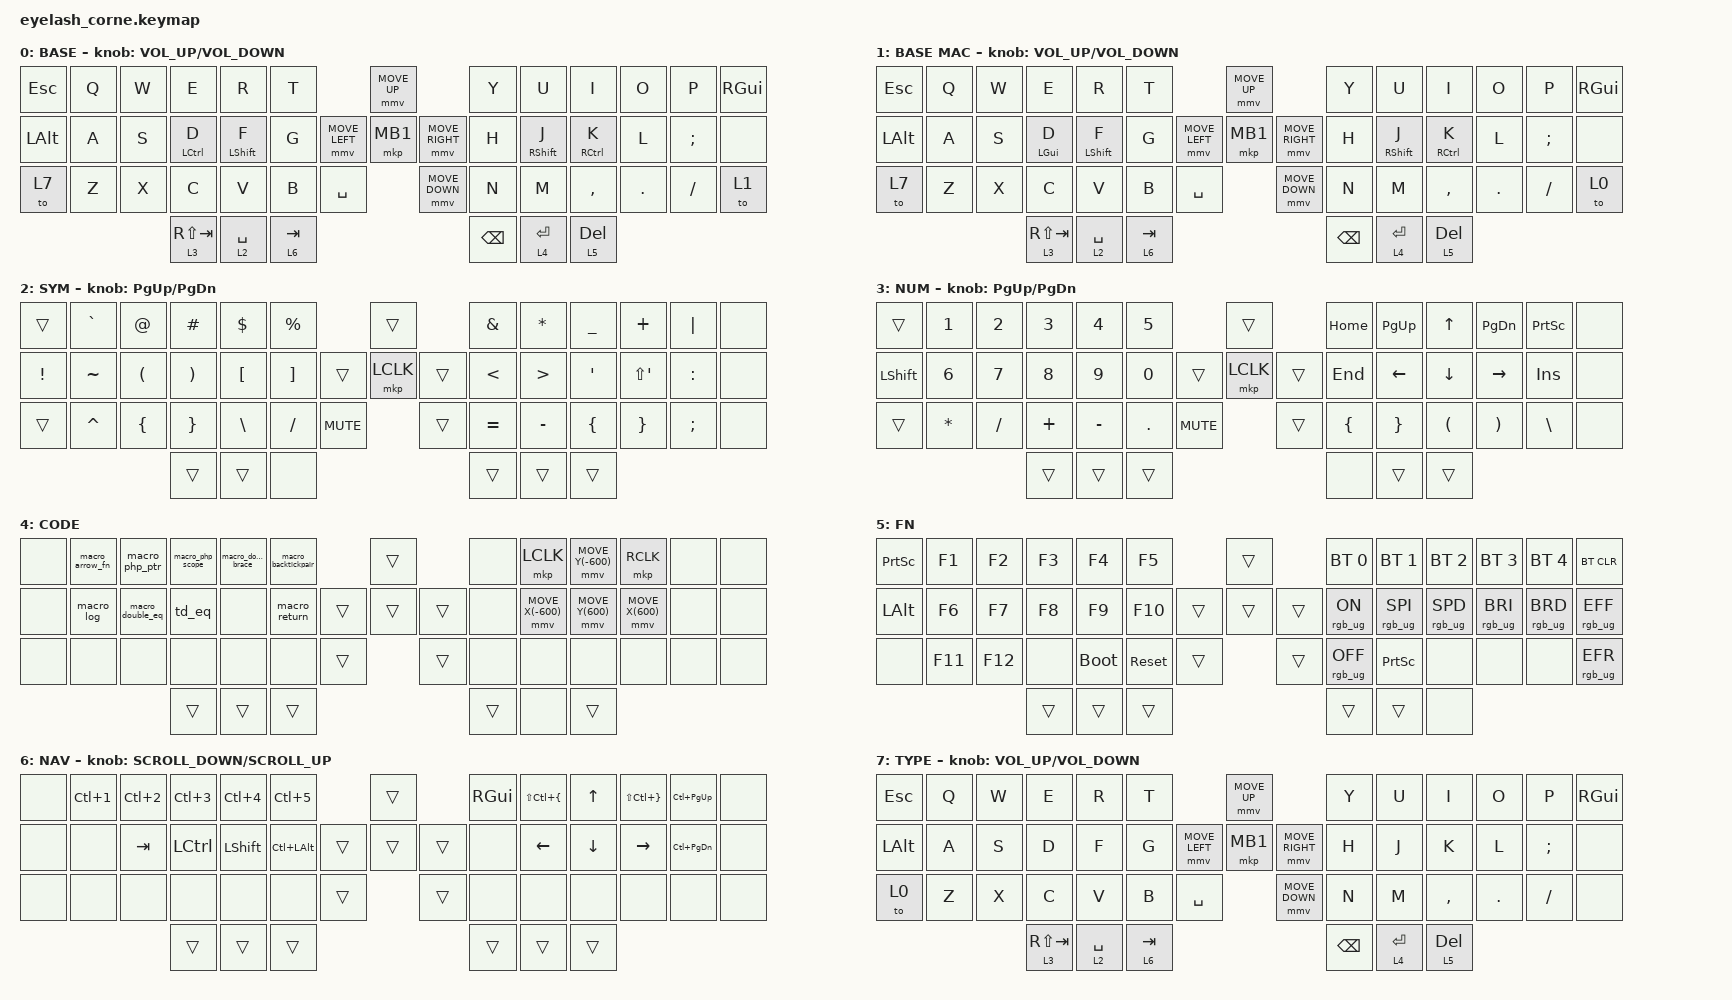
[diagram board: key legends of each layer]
#include <dt-bindings/zmk/mouse.h>
#include <behaviors.dtsi>
#include <dt-bindings/zmk/bt.h>
#include <dt-bindings/zmk/keys.h>
#include <dt-bindings/zmk/pointing.h>
#include <dt-bindings/zmk/rgb.h>

/ {
    behaviors {
        td0: td0 {
            compatible = "zmk,behavior-tap-dance";
            #binding-cells = <0>;
            bindings = <&kp LEFT_SHIFT>, <&kp CAPS>;
        };

        macro_paren: macro_paren {
            compatible = "zmk,behavior-macro";
            label = "PAR()";
            #binding-cells = <0>;
            bindings = <&kp LPAR &kp RPAR &kp LEFT>;
        };

        macro_brack: macro_brack {
            compatible = "zmk,behavior-macro";
            label = "BRK[]";
            #binding-cells = <0>;
            bindings = <&kp LBKT &kp RBKT &kp LEFT>;
        };

        macro_brace: macro_brace {
            compatible = "zmk,behavior-macro";
            label = "BRC{}";
            #binding-cells = <0>;
            bindings = <&kp LBRC &kp RBRC &kp LEFT>;
        };

        macro_backtickpair: macro_backtickpair {
            compatible = "zmk,behavior-macro";
            label = "BT``";
            #binding-cells = <0>;
            bindings = <&kp GRAVE &kp GRAVE &kp LEFT>;
        };

        macro_dollar_brace: macro_dollar_brace {
            compatible = "zmk,behavior-macro";
            label = "${}";
            #binding-cells = <0>;
            bindings = <&kp DOLLAR &kp LBRC &kp RBRC &kp LEFT>;
        };

        macro_arrow_fn: macro_arrow_fn {
            compatible = "zmk,behavior-macro";
            label = "=>";
            #binding-cells = <0>;
            bindings = <&kp SPACE &kp EQUAL &kp GREATER_THAN &kp SPACE>;
        };

        macro_php_ptr: macro_php_ptr {
            compatible = "zmk,behavior-macro";
            label = "->";
            #binding-cells = <0>;
            bindings = <&kp MINUS &kp GREATER_THAN>;
        };

        macro_php_scope: macro_php_scope {
            compatible = "zmk,behavior-macro";
            label = "::";
            #binding-cells = <0>;
            bindings = <&kp COLON &kp COLON>;
        };

        macro_log: macro_log {
            compatible = "zmk,behavior-macro";
            label = "console.log()";
            #binding-cells = <0>;
            bindings = <&kp C &kp O &kp N &kp S &kp O &kp L &kp E &kp DOT &kp L &kp O &kp G &kp LPAR &kp RPAR &kp SEMI &kp LEFT &kp LEFT_ARROW>;
        };

        macro_php_tags_open: macro_php_tags {
            compatible = "zmk,behavior-macro";
            label = "<?php ?>";
            #binding-cells = <0>;
            bindings = <&kp LT &kp QMARK &kp P &kp H &kp P>;
        };

        macro_echo: macro_echo {
            compatible = "zmk,behavior-macro";
            label = "echo ''";
            #binding-cells = <0>;
            bindings = <&kp E &kp C &kp H &kp O &kp SPACE &kp SQT &kp SQT &kp SEMI &kp LEFT>;
        };

        macro_double_eq: macro_double_eq {
            compatible = "zmk,behavior-macro";
            label = "==";
            #binding-cells = <0>;
            bindings = <&kp EQUAL &kp EQUAL>;
        };

        macro_triple_eq: macro_triple_eq {
            compatible = "zmk,behavior-macro";
            label = "===";
            #binding-cells = <0>;
            bindings = <&kp EQUAL &kp EQUAL &kp EQUAL>;
        };

        macro_not_eq_strict: macro_not_eq_strict {
            compatible = "zmk,behavior-macro";
            label = "!==";
            #binding-cells = <0>;
            bindings = <&kp EXCL &kp EQUAL &kp EQUAL>;
        };

        macro_not_eq: macro_not_eq {
            compatible = "zmk,behavior-macro";
            label = "MACRO_NOT_EQ";
            #binding-cells = <0>;
            bindings = <&kp EXCL &kp EQUAL>;
        };

        macro_php_tags_close: new_macro {
            compatible = "zmk,behavior-macro";
            label = "NEW_MACRO";
            #binding-cells = <0>;
            bindings = <&kp QUESTION &kp GREATER_THAN>;
        };

        macro_return: macro_return {
            compatible = "zmk,behavior-macro";
            label = "MACRO_RETURN";
            #binding-cells = <0>;
            bindings = <&kp R &kp E &kp T &kp U &kp R &kp N &kp SPACE>;
        };

        macro_php_get_field: macro_php_get_field {
            compatible = "zmk,behavior-macro";
            #binding-cells = <0>;
            bindings = <&kp G &kp E &kp T &kp UNDER &kp F &kp I &kp E &kp L &kp D &kp LPAR &kp SQT &kp SQT &kp RPAR &kp LEFT &kp LEFT>;
            label = "MACRO_PHP_GET_FIELD";
        };

        td_eq: td_eq {
            compatible = "zmk,behavior-tap-dance";
            #binding-cells = <0>;
            bindings =
                <&kp EQUAL>,
                <&macro_double_eq>,
                <&macro_not_eq>,
                <&macro_triple_eq>,
                <&macro_not_eq_strict>;
        };
    };

    rgb_encoder: rgb_encoder {
        compatible = "zmk,behavior-sensor-rotate";
        #sensor-binding-cells = <0>;
        bindings = <&rgb_ug RGB_BRI>, <&rgb_ug RGB_BRD>;
    };

    macros {
    };

    keymap {
        compatible = "zmk,keymap";

        base_layer {
            display-name = "BASE";
            bindings = <
&kp ESCAPE    &kp Q  &kp W  &kp E               &kp R             &kp T                                   &mmv MOVE_UP                     &kp Y          &kp U              &kp I                &kp O    &kp P     &kp RIGHT_GUI
&kp LEFT_ALT  &kp A  &kp S  &mt LEFT_CONTROL D  &mt LEFT_SHIFT F  &kp G                   &mmv MOVE_LEFT  &mkp MB1        &mmv MOVE_RIGHT  &kp H          &mt RIGHT_SHIFT J  &mt RIGHT_CONTROL K  &kp L    &kp SEMI  &none
&to 7         &kp Z  &kp X  &kp C               &kp V             &kp B      &kp SPACE                    &mmv MOVE_DOWN                   &kp N          &kp M              &kp COMMA            &kp DOT  &kp FSLH  &to 1
                            &lt 3 RS(TAB)       &lt 2 SPACE       &lt 6 TAB                                                                &kp BACKSPACE  &lt 4 ENTER        &lt 5 DELETE
            >;

            sensor-bindings = <&inc_dec_kp C_VOLUME_UP C_VOLUME_DOWN>;
        };

        base_mac_layer {
            display-name = "BASE MAC";
            bindings = <
&kp ESCAPE    &kp Q  &kp W  &kp E           &kp R             &kp T                                   &mmv MOVE_UP                     &kp Y          &kp U              &kp I                &kp O    &kp P     &kp RIGHT_GUI
&kp LEFT_ALT  &kp A  &kp S  &mt LEFT_GUI D  &mt LEFT_SHIFT F  &kp G                   &mmv MOVE_LEFT  &mkp MB1        &mmv MOVE_RIGHT  &kp H          &mt RIGHT_SHIFT J  &mt RIGHT_CONTROL K  &kp L    &kp SEMI  &none
&to 7         &kp Z  &kp X  &kp C           &kp V             &kp B      &kp SPACE                    &mmv MOVE_DOWN                   &kp N          &kp M              &kp COMMA            &kp DOT  &kp FSLH  &to 0
                            &lt 3 RS(TAB)   &lt 2 SPACE       &lt 6 TAB                                                                &kp BACKSPACE  &lt 4 ENTER        &lt 5 DELETE
            >;

            sensor-bindings = <&inc_dec_kp C_VOLUME_UP C_VOLUME_DOWN>;
        };

        sym_layer {
            display-name = "SYM";
            bindings = <
&trans           &kp GRAVE  &kp AT                &kp HASH               &kp DLLR          &kp PRCNT                                &trans             &kp AMPERSAND  &kp ASTERISK      &kp UNDERSCORE  &kp PLUS            &kp PIPE       &none
&kp EXCLAMATION  &kp TILDE  &kp LEFT_PARENTHESIS  &kp RIGHT_PARENTHESIS  &kp LEFT_BRACKET  &kp RIGHT_BRACKET                &trans  &mkp LCLK  &trans  &kp LESS_THAN  &kp GREATER_THAN  &kp APOSTROPHE  &kp LS(APOSTROPHE)  &kp COLON      &none
&trans           &kp CARET  &kp LEFT_BRACE        &kp RIGHT_BRACE        &kp BACKSLASH     &kp SLASH          &kp C_MUTE            &trans             &kp EQUAL      &kp MINUS         &kp LBRC        &kp RBRC            &kp SEMICOLON  &none
                                                  &trans                 &trans            &none                                                       &trans         &trans            &trans
            >;

            sensor-bindings = <&inc_dec_kp PG_UP PG_DN>;
        };

        num_layer {
            display-name = "NUM";
            bindings = <
&trans          &kp N1        &kp N2     &kp N3    &kp N4     &kp N5                            &trans             &kp HOME        &kp PAGE_UP      &kp UP                &kp PAGE_DOWN          &kp PRINTSCREEN  &none
&kp LEFT_SHIFT  &kp NUMBER_6  &kp N7     &kp N8    &kp N9     &kp N0                    &trans  &mkp LCLK  &trans  &kp END         &kp LEFT         &kp DOWN              &kp RIGHT              &kp INS          &none
&trans          &kp ASTERISK  &kp SLASH  &kp PLUS  &kp MINUS  &kp PERIOD  &kp C_MUTE            &trans             &kp LEFT_BRACE  &kp RIGHT_BRACE  &kp LEFT_PARENTHESIS  &kp RIGHT_PARENTHESIS  &kp BACKSLASH    &none
                                         &trans    &trans     &trans                                               &none           &trans           &trans
            >;

            sensor-bindings = <&inc_dec_kp PG_UP PG_DN>;
        };

        coding_macros {
            display-name = "CODE";
            bindings = <
&none  &macro_arrow_fn  &macro_php_ptr    &macro_php_scope  &macro_dollar_brace  &macro_backtickpair                    &trans          &none   &mkp LCLK          &mmv MOVE_Y(-600)  &mkp RCLK         &none  &none
&none  &macro_log       &macro_double_eq  &td_eq            &none                &macro_return                  &trans  &trans  &trans  &none   &mmv MOVE_X(-600)  &mmv MOVE_Y(600)   &mmv MOVE_X(600)  &none  &none
&none  &none            &none             &none             &none                &none                &trans            &trans          &none   &none              &none              &none             &none  &none
                                          &trans            &trans               &trans                                                 &trans  &none              &trans
            >;
        };

        fn_layer {
            display-name = "FN";
            bindings = <
&kp PRINTSCREEN  &kp F1   &kp F2   &kp F3  &kp F4       &kp F5                        &trans          &bt BT_SEL 0     &bt BT_SEL 1     &bt BT_SEL 2     &bt BT_SEL 3     &bt BT_SEL 4     &bt BT_CLR
&kp LEFT_ALT     &kp F6   &kp F7   &kp F8  &kp F9       &kp F10               &trans  &trans  &trans  &rgb_ug RGB_ON   &rgb_ug RGB_SPI  &rgb_ug RGB_SPD  &rgb_ug RGB_BRI  &rgb_ug RGB_BRD  &rgb_ug RGB_EFF
&none            &kp F11  &kp F12  &none   &bootloader  &sys_reset  &trans            &trans          &rgb_ug RGB_OFF  &kp PRINTSCREEN  &none            &none            &none            &rgb_ug RGB_EFR
                                   &trans  &trans       &trans                                        &trans           &trans           &none
            >;
        };

        nav_layer {
            display-name = "NAV";
            bindings = <
&none  &kp LC(NUMBER_1)  &kp LC(NUMBER_2)  &kp LC(NUMBER_3)  &kp LC(NUMBER_4)  &kp LC(N5)                          &trans          &kp RIGHT_GUI  &kp LS(LC(LEFT_BRACE))  &kp UP    &kp LS(LC(RIGHT_BRACE))  &kp LC(PAGE_UP)    &none
&none  &none             &kp TAB           &kp LEFT_CONTROL  &kp LEFT_SHIFT    &kp LC(LEFT_ALT)            &trans  &trans  &trans  &none          &kp LEFT                &kp DOWN  &kp RIGHT                &kp LC(PAGE_DOWN)  &none
&none  &none             &none             &none             &none             &none             &trans            &trans          &none          &none                   &none     &none                    &none              &none
                                           &trans            &trans            &trans                                              &trans         &trans                  &trans
            >;

            sensor-bindings = <&inc_dec_kp K_SCROLL_DOWN K_SCROLL_UP>;
        };

        type_layer {
            display-name = "TYPE";
            bindings = <
&kp ESCAPE    &kp Q  &kp W  &kp E          &kp R        &kp T                                   &mmv MOVE_UP                     &kp Y          &kp U        &kp I         &kp O    &kp P     &kp RIGHT_GUI
&kp LEFT_ALT  &kp A  &kp S  &kp D          &kp F        &kp G                   &mmv MOVE_LEFT  &mkp MB1        &mmv MOVE_RIGHT  &kp H          &kp J        &kp K         &kp L    &kp SEMI  &none
&to 0         &kp Z  &kp X  &kp C          &kp V        &kp B      &kp SPACE                    &mmv MOVE_DOWN                   &kp N          &kp M        &kp COMMA     &kp DOT  &kp FSLH  &none
                            &lt 3 RS(TAB)  &lt 2 SPACE  &lt 6 TAB                                                                &kp BACKSPACE  &lt 4 ENTER  &lt 5 DELETE
            >;

            sensor-bindings = <&inc_dec_kp C_VOLUME_UP C_VOLUME_DOWN>;
        };
    };
};
